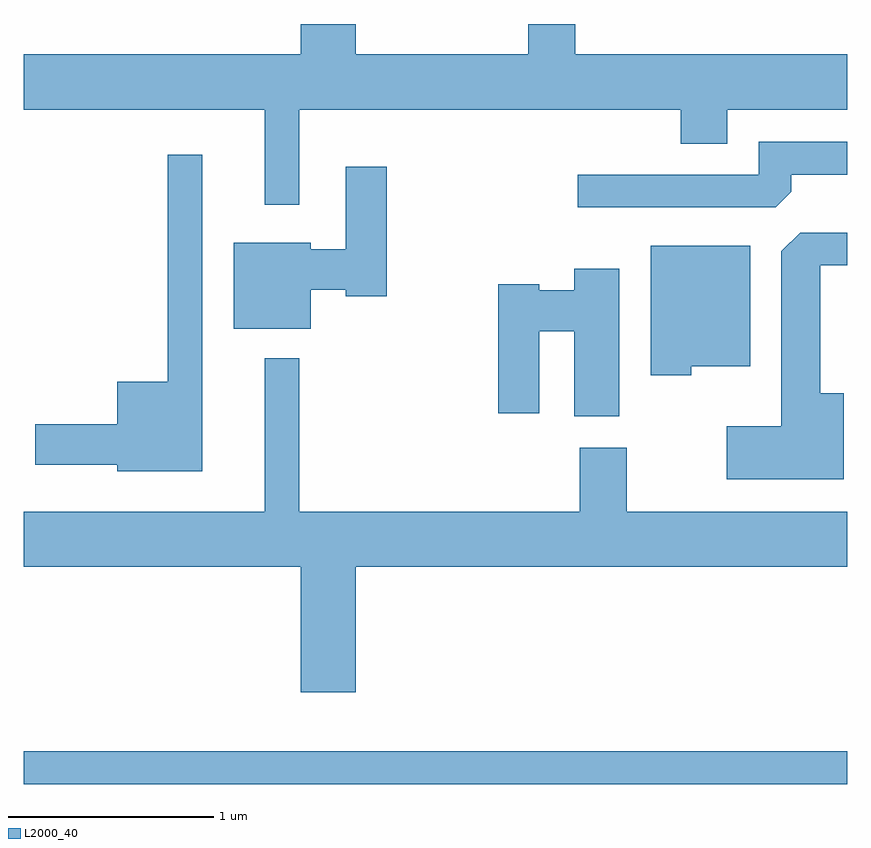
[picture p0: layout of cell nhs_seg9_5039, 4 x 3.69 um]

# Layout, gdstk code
import gdstk
lib = gdstk.Library(unit=1e-6, precision=1e-09)
def R(c, l, rs):  # rectangles x0, y0, x1, y1
    for r in rs: c.add(gdstk.rectangle(r[:2], r[2:], *l))
def P(c, l, *ps):  # polygons
    for p in ps: c.add(gdstk.Polygon(p, *l))
L2000_40 = (2000, 40)

nhs_seg9_5039 = lib.new_cell('nhs_seg9_5039')
R(nhs_seg9_5039, L2000_40, [(333.611,2010.741,337.611,2010.899)])
P(nhs_seg9_5039, L2000_40, [(334.949,2014.016),(336.801,2014.016),(336.801,2013.851),(337.029,2013.851),(337.029,2014.016),(337.611,2014.016),(337.611,2014.284),(336.289,2014.284),(336.289,2014.432),(336.061,2014.432),(336.061,2014.284),(335.224,2014.284),(335.224,2014.432),(334.956,2014.432),(334.956,2014.284),(333.611,2014.284),(333.611,2014.016),(334.781,2014.016),(334.781,2013.553),(334.949,2013.553)],
  [(337.339,2013.617),(337.339,2013.701),(337.611,2013.701),(337.611,2013.859),(337.181,2013.859),(337.181,2013.699),(336.303,2013.699),(336.303,2013.541),(337.264,2013.541)],
  [(334.479,2013.798),(334.311,2013.798),(334.311,2012.694),(334.066,2012.694),(334.066,2012.489),(333.666,2012.489),(333.666,2012.291),(334.066,2012.291),(334.066,2012.261),(334.479,2012.261)],
  [(335.004,2013.141),(335.176,2013.141),(335.176,2013.111),(335.374,2013.111),(335.374,2013.739),(335.176,2013.739),(335.176,2013.339),(335.004,2013.339),(335.004,2013.369),(334.631,2013.369),(334.631,2012.951),(335.004,2012.951)],
  [(337.594,2012.639),(337.479,2012.639),(337.479,2013.261),(337.611,2013.261),(337.611,2013.419),(337.382,2013.419),(337.291,2013.329),(337.291,2012.479),(337.026,2012.479),(337.026,2012.221),(337.594,2012.221)],
  [(336.854,2012.771),(337.139,2012.771),(337.139,2013.354),(336.656,2013.354),(336.656,2012.726),(336.854,2012.726)],
  [(336.504,2013.244),(336.286,2013.244),(336.286,2013.139),(336.114,2013.139),(336.114,2013.169),(335.916,2013.169),(335.916,2012.541),(336.114,2012.541),(336.114,2012.941),(336.286,2012.941),(336.286,2012.526),(336.504,2012.526)],
  [(335.224,2011.796),(337.611,2011.796),(337.611,2012.064),(336.539,2012.064),(336.539,2012.374),(336.311,2012.374),(336.311,2012.064),(334.949,2012.064),(334.949,2012.808),(334.781,2012.808),(334.781,2012.064),(333.611,2012.064),(333.611,2011.796),(334.956,2011.796),(334.956,2011.186),(335.224,2011.186)])

lib.write_gds('nhs_seg9_5039.gds')
